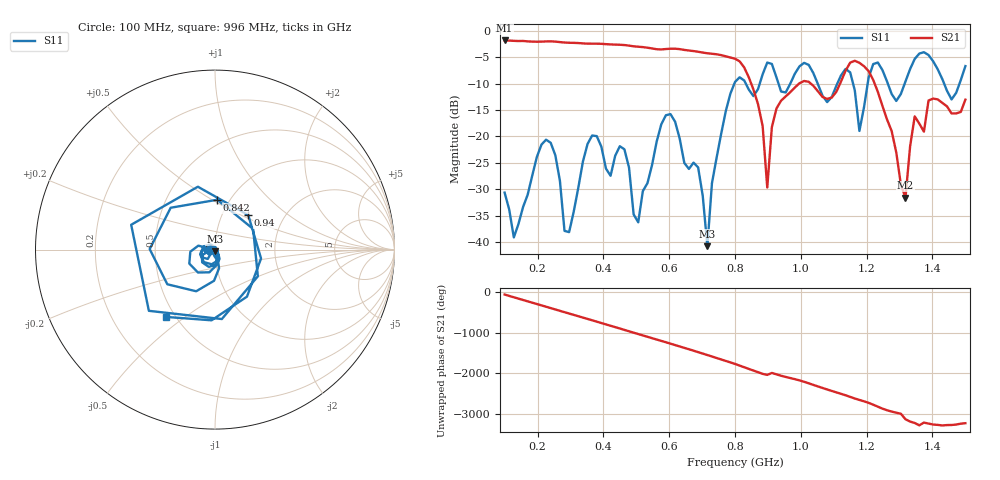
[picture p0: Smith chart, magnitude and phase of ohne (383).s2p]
! NanoVNA-App
! Date: 2025-09-25 14:23:46
! Start: 100MHz Stop: 1,5GHz Points: 101
! S-Parameter data: F S11 S21 S12 S22
# Hz S RI R 50
!  Frequency  S11_Real  S11_Imag  S21_Real  S21_Imag  S12_Real  S12_Imag  S22_Real  S22_Imag
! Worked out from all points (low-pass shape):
!   101 points, 100 MHz to 1.5 GHz, reference 50 ohm
!   highest |S21| = -1.79 dB at 100 MHz (marker M1); lowest = -31.6 dB at 1.318 GHz (marker M2)
!   |S21| within 3 dB of the highest: start of sweep to 771.7 MHz
!   lowest |S11| = -40.8 dB at 716 MHz (marker M3), VSWR 1.02, Z = 49.9 - j0.9 ohm
!   |S11| at or under -10 dB: start of sweep to 797.9 MHz; 833 MHz to 875.1 MHz (42.07 MHz wide, 4.93 % of centre); 1.051 GHz to 1.111 GHz (59.29 MHz wide, 5.48 % of centre) (the widest 3 of 7)
!   S12 and S22 are empty: the file has one direction only
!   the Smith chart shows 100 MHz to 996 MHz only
!   S11 on the Smith chart (normalised r, x): 100 MHz: 0.94, -0.01; 842 MHz: 0.88, +0.53; 940 MHz: 1.33, +0.55; 996 MHz: 0.45, -0.43
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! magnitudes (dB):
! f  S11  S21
! 100 MHz  -30.6  -1.8
! 128 MHz  -39.1  -1.9
! 226 MHz  -20.6  -2.0
! 296 MHz  -38.1  -2.2
! 338 MHz  -24.7  -2.4
! 464 MHz  -22.4  -2.7
! 506 MHz  -36.3  -3.0
! 576 MHz  -17.7  -3.5
! 688 MHz  -25.9  -3.9
! 716 MHz  -40.8  -4.2
! 800 MHz  -9.7  -5.3
! 842 MHz  -11.1  -8.8
! 898 MHz  -6.0  -29.7
! 940 MHz  -11.5  -13.2
! 996 MHz  -6.7  -9.9
! 1.038 GHz  -8.0  -10.4
! 1.178 GHz  -18.9  -6.0
! 1.22 GHz  -6.3  -9.3
! 1.276 GHz  -12.0  -19.0
! 1.318 GHz  -9.6  -31.6
! 1.346 GHz  -5.3  -16.2
! 1.5 GHz  -6.7  -13.0
